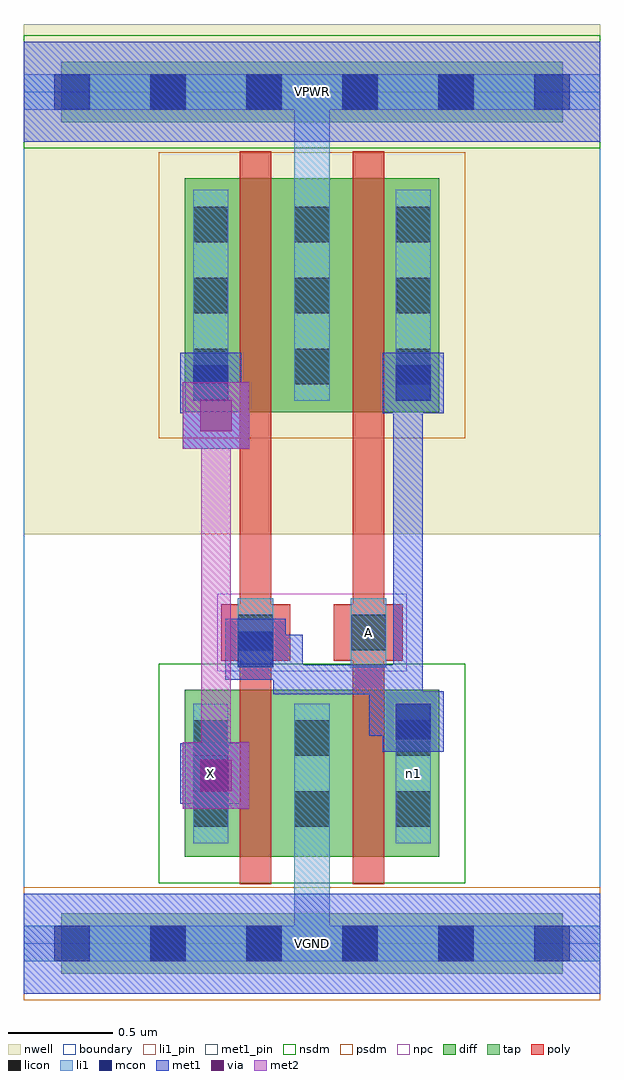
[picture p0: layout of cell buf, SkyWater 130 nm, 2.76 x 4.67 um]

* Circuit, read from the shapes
.subckt buf A VGND VPWR X n1
XM1 VGND n1 X VGND sky130_fd_pr__nfet_01v8 w=0.8 l=0.15
XM2 n1 A VGND VGND sky130_fd_pr__nfet_01v8 w=0.8 l=0.15
XM3 VPWR n1 X VPWR sky130_fd_pr__pfet_01v8 w=1.12 l=0.15
XM4 n1 A VPWR VPWR sky130_fd_pr__pfet_01v8 w=1.12 l=0.15
.ends

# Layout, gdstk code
import gdstk
lib = gdstk.Library(unit=1e-6, precision=1e-09)
def R(c, l, rs):  # rectangles x0, y0, x1, y1
    for r in rs: c.add(gdstk.rectangle(r[:2], r[2:], *l))
def A(c, l, x, y, w, h, nx, ny, dx, dy):  # array of equal rectangles
    R(c, l, [(x+i*dx, y+j*dy, x+i*dx+w, y+j*dy+h) for i in range(nx) for j in range(ny)])
nwell = (64, 20)
diff = (65, 20)
tap = (65, 44)
poly = (66, 20)
licon = (66, 44)
li1_pin = (67, 16)
li1 = (67, 20)
mcon = (67, 44)
met1_pin = (68, 16)
met1 = (68, 20)
via = (68, 44)
met2 = (69, 20)
nsdm = (93, 44)
psdm = (94, 20)
npc = (95, 20)
boundary = (235, 4)

buf = lib.new_cell('buf')
R(buf, nwell, [(0,1.96,2.76,4.405)])
R(buf, diff, [(0.77,0.415,1.99,1.215), (0.77,2.545,1.99,3.665)])
R(buf, tap, [(0.18,-0.145,2.58,0.145), (0.18,3.935,2.58,4.225)])
R(buf, poly, [(1.035,0.285,1.185,3.795), (1.575,0.285,1.725,3.795), (0.945,1.355,1.275,1.625), (1.485,1.355,1.815,1.625)])
A(buf, licon, 0.605, -0.085, 0.17, 0.17, 4, 2, 0.46, 4.08)
A(buf, licon, 0.81, 0.56, 0.17, 0.17, 3, 2, 0.485, 0.34)
A(buf, licon, 0.81, 2.68, 0.17, 0.17, 3, 3, 0.485, 0.34)
R(buf, licon, [(1.025,1.405,1.195,1.575), (1.565,1.405,1.735,1.575)])
R(buf, li1_pin, [(1.565,1.325,1.735,1.655)])
A(buf, li1, 0.81, 0.48, 0.17, 0.67, 3, 1, 0.485, 0)
A(buf, li1, 0.81, 2.6, 0.17, 1.01, 3, 1, 0.485, 0)
R(buf, li1, [(0,-0.085,2.76,0.085), (1.295,-0.085,1.465,1.15), (1.025,1.325,1.195,1.655), (1.565,1.325,1.735,1.655), (1.295,2.6,1.465,4.165), (0,3.995,2.76,4.165)])
A(buf, mcon, 0.145, -0.085, 0.17, 0.17, 6, 2, 0.46, 4.08)
R(buf, mcon, [(0.81,0.73,0.98,0.9), (1.78,0.98,1.95,1.15), (1.025,1.325,1.195,1.495), (0.81,2.6,0.98,2.77), (1.78,2.6,1.95,2.77)])
R(buf, met1_pin, [(0,-0.24,2.76,0.24), (0.75,0.67,1.04,0.96), (0,3.84,2.76,4.32)])
R(buf, met1, [(0,-0.24,2.76,0.24), (0.76,0.645,1.08,0.965), (0.75,0.67,1.04,0.96), (0.85,0.735,0.99,0.875), (1.72,0.92,2.01,1.21), (1.655,0.995,1.935,1.135), (1.655,0.995,1.795,1.335), (1.655,1.135,1.91,1.195), (1.195,1.195,1.335,1.48), (1.195,1.195,1.795,1.335), (1.655,1.195,1.91,1.335), (1.77,1.195,1.91,2.6), (0.965,1.265,1.255,1.555), (1.04,1.34,1.335,1.48), (0.76,2.37,1.08,2.69), (0.85,2.46,0.99,2.755), (1.77,2.46,1.91,2.755), (0.75,2.54,1.04,2.83), (1.72,2.54,2.01,2.83), (0.825,2.615,0.99,2.755), (1.77,2.615,1.935,2.755), (0,3.84,2.76,4.32)])
R(buf, via, [(0.845,0.73,0.995,0.88), (0.845,2.455,0.995,2.605)])
R(buf, met2, [(0.76,0.645,1.08,0.965), (0.85,0.735,0.99,2.6), (0.76,2.37,1.08,2.69)])
R(buf, nsdm, [(0.645,0.29,2.115,1.34), (0,3.81,2.76,4.35)])
R(buf, psdm, [(0,-0.27,2.76,0.27), (0.645,2.42,2.115,3.79)])
R(buf, npc, [(0.925,1.305,1.835,1.675)])
R(buf, boundary, [(0,0,2.76,4.08)])
buf.add(gdstk.Label('A', (1.65,1.49), layer=67, texttype=5))
buf.add(gdstk.Label('n1', (1.865,0.815), layer=67, texttype=5))
buf.add(gdstk.Label('X', (0.895,0.815), layer=68, texttype=5))
buf.add(gdstk.Label('VPWR', (1.38,4.08), layer=68, texttype=5))
buf.add(gdstk.Label('VGND', (1.38,0), layer=68, texttype=5))
buf.add(gdstk.Label('A', (1.65,1.49), layer=67, texttype=16))
buf.add(gdstk.Label('X', (0.895,0.815), layer=68, texttype=16))
buf.add(gdstk.Label('VPWR', (1.38,4.08), layer=68, texttype=16))
buf.add(gdstk.Label('VGND', (1.38,0), layer=68, texttype=16))

lib.write_gds('buf.gds')
